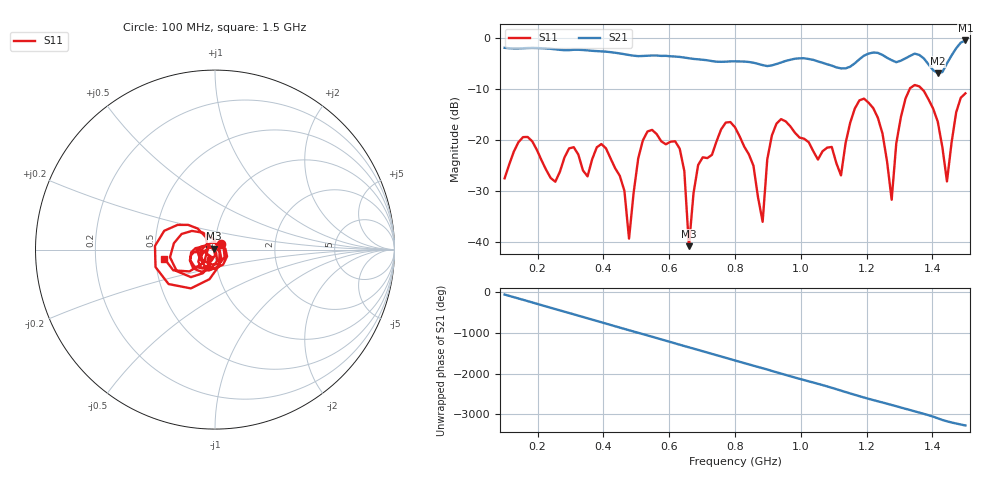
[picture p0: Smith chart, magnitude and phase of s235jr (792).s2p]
! NanoVNA-App
! Date: 2025-09-25 15:10:20
! Start: 100MHz Stop: 1,5GHz Points: 101
! S-Parameter data: F S11 S21 S12 S22
# Hz S RI R 50
!  Frequency  S11_Real  S11_Imag  S21_Real  S21_Imag  S12_Real  S12_Imag  S22_Real  S22_Imag
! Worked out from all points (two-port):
!   101 points, 100 MHz to 1.5 GHz, reference 50 ohm
!   highest |S21| = -0.52 dB at 1.5 GHz (marker M1); lowest = -6.9 dB at 1.416 GHz (marker M2)
!   |S21| within 3 dB of the highest: start of sweep to 495.8 MHz; 1.191 GHz to 1.252 GHz (61.01 MHz wide, 4.99 % of centre) (the widest 2 of 5)
!   lowest |S11| = -40.7 dB at 660 MHz (marker M3), VSWR 1.02, Z = 49.3 + j0.548 ohm
!   |S11| at or under -10 dB: start of sweep to 1.331 GHz; 1.368 GHz to end of sweep
!   S12 and S22 are empty: the file has one direction only
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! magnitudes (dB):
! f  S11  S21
! 100 MHz  -27.5  -2.0
! 156 MHz  -19.4  -2.0
! 338 MHz  -25.9  -2.4
! 408 MHz  -21.6  -2.7
! 478 MHz  -39.3  -3.4
! 520 MHz  -20.1  -3.6
! 576 MHz  -20.2  -3.5
! 632 MHz  -21.7  -3.7
! 660 MHz  -40.7  -4.0
! 688 MHz  -24.9  -4.2
! 800 MHz  -17.5  -4.6
! 884 MHz  -36.0  -5.3
! 926 MHz  -16.8  -5.1
! 1.038 GHz  -22.2  -4.3
! 1.122 GHz  -26.9  -6.0
! 1.192 GHz  -11.9  -3.5
! 1.248 GHz  -18.7  -3.3
! 1.276 GHz  -31.7  -4.4
! 1.332 GHz  -9.8  -3.5
! 1.416 GHz  -16.4  -6.9
! 1.444 GHz  -28.1  -5.0
! 1.5 GHz  -10.9  -0.5
